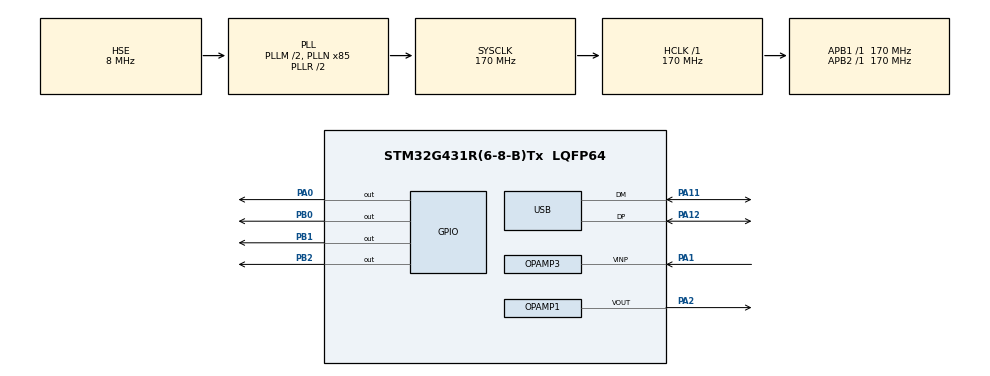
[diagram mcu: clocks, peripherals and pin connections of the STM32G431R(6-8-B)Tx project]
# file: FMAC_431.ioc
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ADC2.Channel-0\#ChannelRegularConversion=ADC_CHANNEL_VOPAMP3_ADC2
ADC2.DMAContinuousRequests=ENABLE
ADC2.ExternalTrigConv=ADC_EXTERNALTRIG_T6_TRGO
ADC2.NbrOfConversion=1
ADC2.NbrOfConversionFlag=1
ADC2.OffsetNumber-0\#ChannelRegularConversion=ADC_OFFSET_NONE
ADC2.Overrun=ADC_OVR_DATA_PRESERVED
ADC2.OversamplingMode=DISABLE
ADC2.Rank-0\#ChannelRegularConversion=1
ADC2.SamplingTime-0\#ChannelRegularConversion=ADC_SAMPLETIME_2CYCLES_5
DAC3.DAC_SampleAndHold-DAC_OUT1_Int=DAC_SAMPLEANDHOLD_DISABLE
DAC3.DAC_Trigger_OUT1-DAC_OUT1_Int=DAC_TRIGGER_T6_TRGO
Dma.ADC2.0.Direction=DMA_PERIPH_TO_MEMORY
Dma.ADC2.0.EventEnable=DISABLE
Dma.ADC2.0.Instance=DMA1_Channel1
Dma.ADC2.0.MemDataAlignment=DMA_MDATAALIGN_WORD
Dma.ADC2.0.MemInc=DMA_MINC_ENABLE
Dma.ADC2.0.Mode=DMA_CIRCULAR
Dma.ADC2.0.PeriphDataAlignment=DMA_PDATAALIGN_WORD
Dma.ADC2.0.PeriphInc=DMA_PINC_DISABLE
Dma.ADC2.0.Polarity=HAL_DMAMUX_REQ_GEN_RISING
Dma.ADC2.0.Priority=DMA_PRIORITY_LOW
Dma.ADC2.0.RequestNumber=1
Dma.ADC2.0.SignalID=NONE
Dma.ADC2.0.SyncEnable=DISABLE
Dma.ADC2.0.SyncPolarity=HAL_DMAMUX_SYNC_NO_EVENT
Dma.ADC2.0.SyncRequestNumber=1
Dma.ADC2.0.SyncSignalID=NONE
Dma.DAC3_CH1.1.Direction=DMA_MEMORY_TO_PERIPH
Dma.DAC3_CH1.1.EventEnable=DISABLE
Dma.DAC3_CH1.1.Instance=DMA1_Channel2
Dma.DAC3_CH1.1.MemDataAlignment=DMA_MDATAALIGN_WORD
Dma.DAC3_CH1.1.MemInc=DMA_MINC_ENABLE
Dma.DAC3_CH1.1.Mode=DMA_CIRCULAR
Dma.DAC3_CH1.1.PeriphDataAlignment=DMA_PDATAALIGN_WORD
Dma.DAC3_CH1.1.PeriphInc=DMA_PINC_DISABLE
Dma.DAC3_CH1.1.Polarity=HAL_DMAMUX_REQ_GEN_RISING
Dma.DAC3_CH1.1.Priority=DMA_PRIORITY_LOW
Dma.DAC3_CH1.1.RequestNumber=1
Dma.DAC3_CH1.1.SignalID=NONE
Dma.DAC3_CH1.1.SyncEnable=DISABLE
Dma.DAC3_CH1.1.SyncPolarity=HAL_DMAMUX_SYNC_NO_EVENT
Dma.DAC3_CH1.1.SyncRequestNumber=1
Dma.DAC3_CH1.1.SyncSignalID=NONE
Dma.FMAC_READ.2.Direction=DMA_PERIPH_TO_MEMORY
Dma.FMAC_READ.2.EventEnable=DISABLE
Dma.FMAC_READ.2.Instance=DMA1_Channel4
Dma.FMAC_READ.2.MemDataAlignment=DMA_MDATAALIGN_HALFWORD
Dma.FMAC_READ.2.MemInc=DMA_MINC_ENABLE
Dma.FMAC_READ.2.Mode=DMA_CIRCULAR
Dma.FMAC_READ.2.PeriphDataAlignment=DMA_PDATAALIGN_WORD
Dma.FMAC_READ.2.PeriphInc=DMA_PINC_DISABLE
Dma.FMAC_READ.2.Polarity=HAL_DMAMUX_REQ_GEN_RISING
Dma.FMAC_READ.2.Priority=DMA_PRIORITY_LOW
Dma.FMAC_READ.2.RequestNumber=1
Dma.FMAC_READ.2.SignalID=NONE
Dma.FMAC_READ.2.SyncEnable=DISABLE
Dma.FMAC_READ.2.SyncPolarity=HAL_DMAMUX_SYNC_NO_EVENT
Dma.FMAC_READ.2.SyncRequestNumber=1
Dma.FMAC_READ.2.SyncSignalID=NONE
Dma.Request0=ADC2
Dma.Request1=DAC3_CH1
Dma.Request2=FMAC_READ
Mcu.Family=STM32G4
Mcu.Name=STM32G431R(6-8-B)Tx
Mcu.Package=LQFP64
NVIC.DMA1_Channel1_IRQn=true\:0\:0\:false\:false\:true\:false\:true\:true
NVIC.DMA1_Channel2_IRQn=true\:0\:0\:false\:false\:true\:false\:true\:true
NVIC.DMA1_Channel4_IRQn=true\:0\:0\:false\:false\:true\:false\:true\:true
NVIC.PriorityGroup=NVIC_PRIORITYGROUP_4
NVIC.USB_LP_IRQn=true\:0\:0\:false\:false\:true\:false\:true\:true
OPAMP1.PowerMode=OPAMP_POWERMODE_HIGHSPEED
OPAMP3.PowerMode=OPAMP_POWERMODE_HIGHSPEED
PA0.Signal=GPIO_Output
PA1.Mode=Follower_Internally_Connected
PA1.Signal=OPAMP3_VINP
PA11.Mode=Device
PA11.Signal=USB_DM
PA12.Mode=Device
PA12.Signal=USB_DP
PA13.Mode=Serial_Wire
PA13.Signal=SYS_JTMS-SWDIO
PA14.Mode=Serial_Wire
PA14.Signal=SYS_JTCK-SWCLK
PA2.Mode=Follower-DAC_OUT2-INP
PA2.Signal=OPAMP1_VOUT
PB0.Signal=GPIO_Output
PB1.Signal=GPIO_Output
PB2.Signal=GPIO_Output
PF0-OSC_IN.Mode=HSE-External-Oscillator
PF0-OSC_IN.Signal=RCC_OSC_IN
PF1-OSC_OUT.Mode=HSE-External-Oscillator
PF1-OSC_OUT.Signal=RCC_OSC_OUT
ProjectManager.HeapSize=0x200
ProjectManager.StackSize=0x400
ProjectManager.TargetToolchain=STM32CubeIDE
RCC.ADC12Freq_Value=170000000
RCC.AHBFreq_Value=170000000
RCC.APB1Freq_Value=170000000
RCC.APB1TimFreq_Value=170000000
RCC.APB2Freq_Value=170000000
RCC.APB2TimFreq_Value=170000000
RCC.CK48CLockSelection=RCC_USBCLKSOURCE_HSI48
RCC.CortexFreq_Value=170000000
RCC.EXTERNAL_CLOCK_VALUE=12288000
RCC.HCLKFreq_Value=170000000
RCC.HSE_VALUE=8000000
RCC.HSI48_VALUE=48000000
RCC.HSI_VALUE=16000000
RCC.LSE_VALUE=32768
RCC.PLLM=RCC_PLLM_DIV2
RCC.PLLN=85
RCC.PLLSourceVirtual=RCC_PLLSOURCE_HSE
RCC.SYSCLKFreq_VALUE=170000000
RCC.SYSCLKSource=RCC_SYSCLKSOURCE_PLLCLK
RCC.USBFreq_Value=48000000
RCC.VCOOutputFreq_Value=340000000
SYS.VoltageScaling=SYSCFG_VREFBUF_VOLTAGE_SCALE0
TIM6.AutoReloadPreload=TIM_AUTORELOAD_PRELOAD_DISABLE
TIM6.PeriodNoDither=100-1
TIM6.Prescaler=17-1
TIM6.TIM_MasterOutputTrigger=TIM_TRGO_UPDATE
USB_DEVICE.CLASS_NAME_FS=CDC
USB_DEVICE.VirtualMode=Cdc
USB_DEVICE.VirtualModeFS=Cdc_FS
VP_ADC2_OPAMP_INTERNAL3.Mode=IN-OPAMP3
VP_CORDIC_VS_CORDIC.Mode=CORDIC_Activate
VP_DAC3_VS_DACI1.Mode=DAC_OUT1_Int
VP_FMAC_VS_FMAC.Mode=FMAC_Activate
VP_SYS_VS_DBSignals.Mode=DisableDeadBatterySignals
VP_TIM6_VS_ClockSourceINT.Mode=Enable_Timer
VP_USB_DEVICE_VS_USB_DEVICE_CDC_FS.Mode=CDC_FS
VREF+.Mode=InternalMode
VREF+.Signal=VREFBUF_OUT
board=custom

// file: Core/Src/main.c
/* USER CODE BEGIN Header */
/**
  ******************************************************************************
  * @file           : main.c
  * @brief          : Main program body
  ******************************************************************************
  * @attention
  *
  * Copyright (c) 2024 STMicroelectronics.
  * All rights reserved.
  *
  * This software is licensed under terms that can be found in the LICENSE file
  * in the root directory of this software component.
  * If no LICENSE file comes with this software, it is provided AS-IS.
  *
  ******************************************************************************
  */
/* USER CODE END Header */
#include "main.h"
#include "usb_device.h"

/* USER CODE BEGIN Includes */

#include "usbd_cdc_if.h"
#include "arm_math.h"
#include "arm_const_structs.h"

/* USER CODE END Includes */

/* USER CODE BEGIN PTD */

//#define LOOP 1
//#define DELAY 1
//#define TOWHILE 1

#define FILTER_OUT_BUFFER_SIZE 1
#define FILTER_IN_BUFFER_SIZE 1
#define FILTER_TAP 127

#define BUFFER_SIZE 2048
#define BUFFER_SIZE_HALF BUFFER_SIZE/2
#define BUFFER_DELAY 0

#define CDC_BUFFER_SIZE 30

//DelayS
#define SIGNAL_DELAY BUFFER_DELAY * HAL_RCC_GetHCLKFreq() *(htim6.Init.Prescaler*htim6.Init.Period)

/* USER CODE END PTD */

ADC_HandleTypeDef hadc2;
DMA_HandleTypeDef hdma_adc2;

CORDIC_HandleTypeDef hcordic;

DAC_HandleTypeDef hdac3;
DMA_HandleTypeDef hdma_dac3_ch1;

FMAC_HandleTypeDef hfmac;
DMA_HandleTypeDef hdma_fmac_read;

OPAMP_HandleTypeDef hopamp1;
OPAMP_HandleTypeDef hopamp3;

TIM_HandleTypeDef htim6;

/* USER CODE BEGIN PV */

extern USBD_HandleTypeDef hUsbDeviceFS;

uint32_t ADC_BUFFER[BUFFER_SIZE];
uint32_t DAC_BUFFER[BUFFER_SIZE];
uint32_t WHILE_BUFFER[BUFFER_SIZE];

uint8_t CDC_BUFFER[CDC_BUFFER_SIZE];

uint32_t DELAY_BUFFER_0[BUFFER_DELAY];
uint32_t DELAY_BUFFER_1[BUFFER_DELAY];

uint32_t ADC_VALUE;
uint32_t WHILE_FLAG=0;

uint16_t ADC_data[FILTER_IN_BUFFER_SIZE];  // Данные с АЦП
uint16_t FMAC_out[FILTER_OUT_BUFFER_SIZE]; // Данные на выходе фильтра

static int16_t FilterCoeffB[127] =
{-10,-10,-10,-9,-9,-9,-8,-8,-7,-6,-5,-4,-2,0,3,6,10,14,19,25,32,40,48,57,68,79,
91,104,118,134,150,166,184,203,222,242,263,284,306,328,350,373,396,418,441,463,
485,506,527,547,566,585,602,618,633,646,659,669,679,686,692,696,699,700,699,696,
692,686,679,669,659,646,633,618,602,585,566,547,527,506,485,463,441,418,396,373,
350,328,306,284,263,242,222,203,184,166,150,134,118,104,91,79,68,57,48,40,32,25,
19,14,10,6,3,0,-2,-4,-5,-6,-7,-8,-8,-9,-9,-9,-10,-10,-10};

/* USER CODE END PV */

void SystemClock_Config(void);
static void MX_GPIO_Init(void);
static void MX_DMA_Init(void);
static void MX_ADC2_Init(void);
static void MX_TIM6_Init(void);
static void MX_DAC3_Init(void);
static void MX_OPAMP1_Init(void);
static void MX_OPAMP3_Init(void);
static void MX_CORDIC_Init(void);
static void MX_FMAC_Init(void);

int main(void)
{

  /* MCU Configuration--------------------------------------------------------*/

  /* Reset of all peripherals, Initializes the Flash interface and the Systick. */
  HAL_Init();

  /* Configure the system clock */
  SystemClock_Config();

  /* Initialize all configured peripherals */
  MX_GPIO_Init();
  MX_DMA_Init();
  MX_ADC2_Init();
  MX_TIM6_Init();
  MX_DAC3_Init();
  MX_OPAMP1_Init();
  MX_OPAMP3_Init();
  MX_CORDIC_Init();
  MX_FMAC_Init();
  MX_USB_Device_Init();
  /* USER CODE BEGIN 2 */

HAL_OPAMP_Start(&hopamp1);
HAL_OPAMP_Start(&hopamp3);

//HAL_ADC_Start_DMA(&hadc2, ADC_BUFFER, BUFFER_SIZE);
////HAL_DAC_Start_DMA(&hdac3, DAC_CHANNEL_1, DAC_BUFFER, BUFFER_SIZE, DAC_ALIGN_12B_R);
//HAL_DAC_Start_DMA(&hdac3, DAC_CHANNEL_1, DAC_BUFFER, BUFFER_SIZE, DAC_ALIGN_12B_R);
//HAL_TIM_Base_Start(&htim6);
//
//
//HAL_Delay(100);
uint16_t Filter_output_Size = FILTER_OUT_BUFFER_SIZE;

HAL_FMAC_FilterStart(&hfmac, (int16_t*)&FMAC_out, &Filter_output_Size);										// Запускаем фильтр
//HAL_ADCEx_Calibration_Start(&hadc2, ADC_SINGLE_ENDED);														// Калибруем АЦП
HAL_ADC_Start_DMA(&hadc2, (uint32_t*)&FMAC->WDATA, FILTER_IN_BUFFER_SIZE);									// Запускаем АЦП с сохранением по DMA по указателю на FMAC->WDATA
HAL_DAC_Start_DMA(&hdac3, DAC_CHANNEL_1, (uint32_t*)&FMAC_out, FILTER_OUT_BUFFER_SIZE, DAC_ALIGN_12B_R); 	// Выводим входные данные FIR фильтра на ЦАП
HAL_TIM_Base_Start(&htim6);																					// Запускаем таймер

  /* USER CODE END 2 */

  /* Infinite loop */
  while (1)
  {

    /* USER CODE BEGIN 3 */

//		if (WHILE_FLAG==2) {
//
//
//
//
//
////			arm_cfft_sR_f32_len1024();
//			for (int i = 0; i < BUFFER_SIZE; ++i) {
//			HAL_Delay(1);
//			  sprintf(CDC_BUFFER,"V:%d,%d\r\n",WHILE_BUFFER[i],i);
//			  CDC_Transmit_FS(CDC_BUFFER, CDC_BUFFER_SIZE);
//			}
//
//			HAL_Delay(10);
//			  WHILE_FLAG=0;
//		}

//	  	  sprintf(CDC_BUFFER,"Data: 1234 \r\n");
//
//		  CDC_Transmit_FS(CDC_BUFFER, 100);

  }

  /* USER CODE END 3 */
}

void SystemClock_Config(void)
{
  RCC_OscInitTypeDef RCC_OscInitStruct = {0};
  RCC_ClkInitTypeDef RCC_ClkInitStruct = {0};

  /** Configure the main internal regulator output voltage
  */
  HAL_PWREx_ControlVoltageScaling(PWR_REGULATOR_VOLTAGE_SCALE1_BOOST);

  /** Initializes the RCC Oscillators according to the specified parameters
  * in the RCC_OscInitTypeDef structure.
  */
  RCC_OscInitStruct.OscillatorType = RCC_OSCILLATORTYPE_HSI48|RCC_OSCILLATORTYPE_HSE;
  RCC_OscInitStruct.HSEState = RCC_HSE_ON;
  RCC_OscInitStruct.HSI48State = RCC_HSI48_ON;
  RCC_OscInitStruct.PLL.PLLState = RCC_PLL_ON;
  RCC_OscInitStruct.PLL.PLLSource = RCC_PLLSOURCE_HSE;
  RCC_OscInitStruct.PLL.PLLM = RCC_PLLM_DIV2;
  RCC_OscInitStruct.PLL.PLLN = 85;
  RCC_OscInitStruct.PLL.PLLP = RCC_PLLP_DIV2;
  RCC_OscInitStruct.PLL.PLLQ = RCC_PLLQ_DIV2;
  RCC_OscInitStruct.PLL.PLLR = RCC_PLLR_DIV2;
  if (HAL_RCC_OscConfig(&RCC_OscInitStruct) != HAL_OK)
  {
    Error_Handler();
  }

  /** Initializes the CPU, AHB and APB buses clocks
  */
  RCC_ClkInitStruct.ClockType = RCC_CLOCKTYPE_HCLK|RCC_CLOCKTYPE_SYSCLK
                              |RCC_CLOCKTYPE_PCLK1|RCC_CLOCKTYPE_PCLK2;
  RCC_ClkInitStruct.SYSCLKSource = RCC_SYSCLKSOURCE_PLLCLK;
  RCC_ClkInitStruct.AHBCLKDivider = RCC_SYSCLK_DIV1;
  RCC_ClkInitStruct.APB1CLKDivider = RCC_HCLK_DIV1;
  RCC_ClkInitStruct.APB2CLKDivider = RCC_HCLK_DIV1;

  if (HAL_RCC_ClockConfig(&RCC_ClkInitStruct, FLASH_LATENCY_4) != HAL_OK)
  {
    Error_Handler();
  }
}

static void MX_ADC2_Init(void)
{

  ADC_ChannelConfTypeDef sConfig = {0};

  /** Common config
  */
  hadc2.Instance = ADC2;
  hadc2.Init.ClockPrescaler = ADC_CLOCK_SYNC_PCLK_DIV4;
  hadc2.Init.Resolution = ADC_RESOLUTION_12B;
  hadc2.Init.DataAlign = ADC_DATAALIGN_RIGHT;
  hadc2.Init.GainCompensation = 0;
  hadc2.Init.ScanConvMode = ADC_SCAN_DISABLE;
  hadc2.Init.EOCSelection = ADC_EOC_SINGLE_CONV;
  hadc2.Init.LowPowerAutoWait = DISABLE;
  hadc2.Init.ContinuousConvMode = DISABLE;
  hadc2.Init.NbrOfConversion = 1;
  hadc2.Init.DiscontinuousConvMode = DISABLE;
  hadc2.Init.ExternalTrigConv = ADC_EXTERNALTRIG_T6_TRGO;
  hadc2.Init.ExternalTrigConvEdge = ADC_EXTERNALTRIGCONVEDGE_RISING;
  hadc2.Init.DMAContinuousRequests = ENABLE;
  hadc2.Init.Overrun = ADC_OVR_DATA_PRESERVED;
  hadc2.Init.OversamplingMode = DISABLE;
  if (HAL_ADC_Init(&hadc2) != HAL_OK)
  {
    Error_Handler();
  }

  /** Configure Regular Channel
  */
  sConfig.Channel = ADC_CHANNEL_VOPAMP3_ADC2;
  sConfig.Rank = ADC_REGULAR_RANK_1;
  sConfig.SamplingTime = ADC_SAMPLETIME_2CYCLES_5;
  sConfig.SingleDiff = ADC_SINGLE_ENDED;
  sConfig.OffsetNumber = ADC_OFFSET_NONE;
  sConfig.Offset = 0;
  if (HAL_ADC_ConfigChannel(&hadc2, &sConfig) != HAL_OK)
  {
    Error_Handler();
  }

}

static void MX_CORDIC_Init(void)
{

  hcordic.Instance = CORDIC;
  if (HAL_CORDIC_Init(&hcordic) != HAL_OK)
  {
    Error_Handler();
  }

}

static void MX_DAC3_Init(void)
{

  DAC_ChannelConfTypeDef sConfig = {0};

  /** DAC Initialization
  */
  hdac3.Instance = DAC3;
  if (HAL_DAC_Init(&hdac3) != HAL_OK)
  {
    Error_Handler();
  }

  /** DAC channel OUT1 config
  */
  sConfig.DAC_HighFrequency = DAC_HIGH_FREQUENCY_INTERFACE_MODE_AUTOMATIC;
  sConfig.DAC_DMADoubleDataMode = DISABLE;
  sConfig.DAC_SignedFormat = DISABLE;
  sConfig.DAC_SampleAndHold = DAC_SAMPLEANDHOLD_DISABLE;
  sConfig.DAC_Trigger = DAC_TRIGGER_T6_TRGO;
  sConfig.DAC_Trigger2 = DAC_TRIGGER_NONE;
  sConfig.DAC_OutputBuffer = DAC_OUTPUTBUFFER_DISABLE;
  sConfig.DAC_ConnectOnChipPeripheral = DAC_CHIPCONNECT_INTERNAL;
  sConfig.DAC_UserTrimming = DAC_TRIMMING_FACTORY;
  if (HAL_DAC_ConfigChannel(&hdac3, &sConfig, DAC_CHANNEL_1) != HAL_OK)
  {
    Error_Handler();
  }

}

static void MX_FMAC_Init(void)
{

  hfmac.Instance = FMAC;
  if (HAL_FMAC_Init(&hfmac) != HAL_OK)
  {
    Error_Handler();
  }

}

static void MX_OPAMP1_Init(void)
{

  hopamp1.Instance = OPAMP1;
  hopamp1.Init.PowerMode = OPAMP_POWERMODE_HIGHSPEED;
  hopamp1.Init.Mode = OPAMP_FOLLOWER_MODE;
  hopamp1.Init.NonInvertingInput = OPAMP_NONINVERTINGINPUT_DAC;
  hopamp1.Init.InternalOutput = DISABLE;
  hopamp1.Init.TimerControlledMuxmode = OPAMP_TIMERCONTROLLEDMUXMODE_DISABLE;
  hopamp1.Init.UserTrimming = OPAMP_TRIMMING_FACTORY;
  if (HAL_OPAMP_Init(&hopamp1) != HAL_OK)
  {
    Error_Handler();
  }

}

static void MX_OPAMP3_Init(void)
{

  hopamp3.Instance = OPAMP3;
  hopamp3.Init.PowerMode = OPAMP_POWERMODE_HIGHSPEED;
  hopamp3.Init.Mode = OPAMP_FOLLOWER_MODE;
  hopamp3.Init.NonInvertingInput = OPAMP_NONINVERTINGINPUT_IO2;
  hopamp3.Init.InternalOutput = ENABLE;
  hopamp3.Init.TimerControlledMuxmode = OPAMP_TIMERCONTROLLEDMUXMODE_DISABLE;
  hopamp3.Init.UserTrimming = OPAMP_TRIMMING_FACTORY;
  if (HAL_OPAMP_Init(&hopamp3) != HAL_OK)
  {
    Error_Handler();
  }

}

static void MX_TIM6_Init(void)
{

  TIM_MasterConfigTypeDef sMasterConfig = {0};

  htim6.Instance = TIM6;
  htim6.Init.Prescaler = 17-1;
  htim6.Init.CounterMode = TIM_COUNTERMODE_UP;
  htim6.Init.Period = 99;
  htim6.Init.AutoReloadPreload = TIM_AUTORELOAD_PRELOAD_DISABLE;
  if (HAL_TIM_Base_Init(&htim6) != HAL_OK)
  {
    Error_Handler();
  }
  sMasterConfig.MasterOutputTrigger = TIM_TRGO_UPDATE;
  sMasterConfig.MasterSlaveMode = TIM_MASTERSLAVEMODE_DISABLE;
  if (HAL_TIMEx_MasterConfigSynchronization(&htim6, &sMasterConfig) != HAL_OK)
  {
    Error_Handler();
  }

}

static void MX_DMA_Init(void)
{

  /* DMA controller clock enable */
  __HAL_RCC_DMAMUX1_CLK_ENABLE();
  __HAL_RCC_DMA1_CLK_ENABLE();

  /* DMA interrupt init */
  /* DMA1_Channel1_IRQn interrupt configuration */
  HAL_NVIC_SetPriority(DMA1_Channel1_IRQn, 0, 0);
  HAL_NVIC_EnableIRQ(DMA1_Channel1_IRQn);
  /* DMA1_Channel2_IRQn interrupt configuration */
  HAL_NVIC_SetPriority(DMA1_Channel2_IRQn, 0, 0);
  HAL_NVIC_EnableIRQ(DMA1_Channel2_IRQn);
  /* DMA1_Channel4_IRQn interrupt configuration */
  HAL_NVIC_SetPriority(DMA1_Channel4_IRQn, 0, 0);
  HAL_NVIC_EnableIRQ(DMA1_Channel4_IRQn);

}

static void MX_GPIO_Init(void)
{
  GPIO_InitTypeDef GPIO_InitStruct = {0};

  /* GPIO Ports Clock Enable */
  __HAL_RCC_GPIOF_CLK_ENABLE();
  __HAL_RCC_GPIOA_CLK_ENABLE();
  __HAL_RCC_GPIOB_CLK_ENABLE();

  /*Configure GPIO pin Output Level */
  HAL_GPIO_WritePin(GPIOA, GPIO_PIN_0, GPIO_PIN_RESET);

  /*Configure GPIO pin Output Level */
  HAL_GPIO_WritePin(GPIOB, GPIO_PIN_0|GPIO_PIN_1|GPIO_PIN_2, GPIO_PIN_RESET);

  /*Configure GPIO pin : PA0 */
  GPIO_InitStruct.Pin = GPIO_PIN_0;
  GPIO_InitStruct.Mode = GPIO_MODE_OUTPUT_PP;
  GPIO_InitStruct.Pull = GPIO_NOPULL;
  GPIO_InitStruct.Speed = GPIO_SPEED_FREQ_LOW;
  HAL_GPIO_Init(GPIOA, &GPIO_InitStruct);

  /*Configure GPIO pins : PB0 PB1 PB2 */
  GPIO_InitStruct.Pin = GPIO_PIN_0|GPIO_PIN_1|GPIO_PIN_2;
  GPIO_InitStruct.Mode = GPIO_MODE_OUTPUT_PP;
  GPIO_InitStruct.Pull = GPIO_NOPULL;
  GPIO_InitStruct.Speed = GPIO_SPEED_FREQ_LOW;
  HAL_GPIO_Init(GPIOB, &GPIO_InitStruct);

}

/* USER CODE BEGIN 4 */

////loop
// void HAL_ADC_ConvHalfCpltCallback	(ADC_HandleTypeDef *hadc)
//{
//	for (size_t i = 0; i < BUFFER_SIZE_HALF; i++) 			{		DAC_BUFFER[i] = ADC_BUFFER[i];	}
//}
// void HAL_ADC_ConvCpltCallback		(ADC_HandleTypeDef *hadc)
//{
//	for (size_t i = BUFFER_SIZE_HALF; i < BUFFER_SIZE; i++) {		DAC_BUFFER[i] = ADC_BUFFER[i];	}
//}

//delay
 void HAL_ADC_ConvHalfCpltCallback	(ADC_HandleTypeDef *hadc)
{

#if LOOP
	for (size_t i = 0; i < BUFFER_SIZE_HALF; i++) 			{		DAC_BUFFER[i] = ADC_BUFFER[i];	}
#endif

#if DELAY
	for (size_t i = 0; i < BUFFER_DELAY; i++)
	{
		DAC_BUFFER[i] = DELAY_BUFFER_1[i];
	}

	for (size_t i = BUFFER_DELAY; i < BUFFER_SIZE_HALF; i++)
	{
		DAC_BUFFER[i] = ADC_BUFFER[i-BUFFER_DELAY];
	}

	for (size_t i = BUFFER_SIZE_HALF; i < BUFFER_SIZE_HALF+BUFFER_DELAY; i++)
	{
		DELAY_BUFFER_0[i-BUFFER_SIZE_HALF] = ADC_BUFFER[i-BUFFER_DELAY];
	}
#endif

#if TOWHILE

	//抓数据进while
	if (WHILE_FLAG==0) {
		for (size_t i = 0; i < BUFFER_SIZE_HALF; i++)
		{		WHILE_BUFFER[i] = ADC_BUFFER[i];	}
		WHILE_FLAG=1;
	}

#endif

}
 void HAL_ADC_ConvCpltCallback		(ADC_HandleTypeDef *hadc)
{

#if LOOP
	 	for (size_t i = BUFFER_SIZE_HALF; i < BUFFER_SIZE; i++) {		DAC_BUFFER[i] = ADC_BUFFER[i];	}
#endif

#if DELAY

	for (size_t i = 0; i < BUFFER_DELAY; i++)
	{
		DAC_BUFFER[i+BUFFER_SIZE_HALF] = DELAY_BUFFER_0[i];
	}

	for (size_t i = BUFFER_DELAY; i < BUFFER_SIZE_HALF; i++)
	{
		DAC_BUFFER[i+BUFFER_SIZE_HALF] = ADC_BUFFER[i+BUFFER_SIZE_HALF-BUFFER_DELAY];
	}

	for (size_t i = BUFFER_SIZE_HALF; i < BUFFER_SIZE_HALF+BUFFER_DELAY; i++)
	{
		DELAY_BUFFER_1[i-BUFFER_SIZE_HALF] = ADC_BUFFER[i+BUFFER_SIZE_HALF-BUFFER_DELAY];
	}

#endif

#if TOWHILE

//	抓数据进while
	if (WHILE_FLAG==1) {
		for (size_t i = BUFFER_SIZE_HALF; i < BUFFER_SIZE; i++)
		{		WHILE_BUFFER[i] = ADC_BUFFER[i];	}
		WHILE_FLAG=2;
	}

#endif
}

/* USER CODE END 4 */

void Error_Handler(void)
{
  __disable_irq();
  while (1)
  {
  }
}
